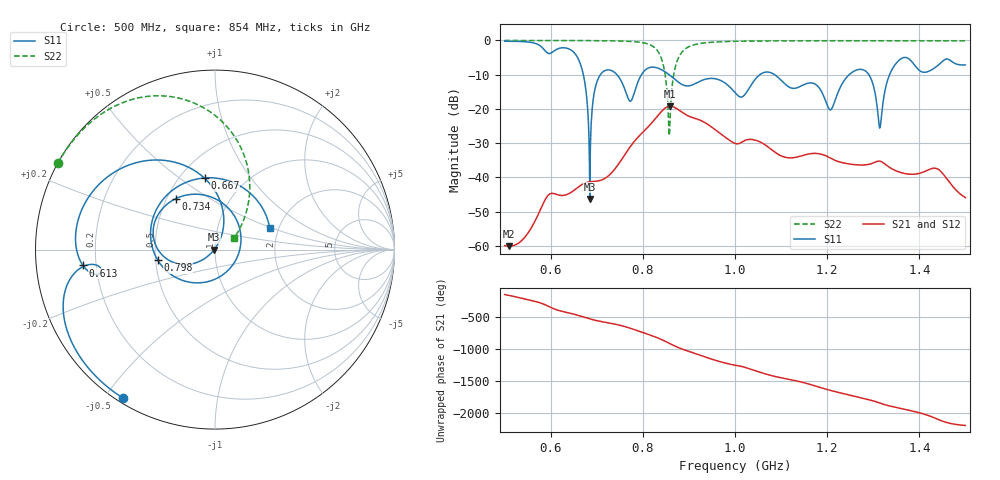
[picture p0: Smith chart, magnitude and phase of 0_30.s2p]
! TOUCHSTONE file generated by CST MICROWAVE STUDIO
! Date and time: Sat Oct 24 10:46:53 2020
! Project name: Scenario_1_Planar_Body_Tissue_Center.cst
! Parameters = {hfat=3; hmuscle=50; hskin=1.5; hgap=25; Wtissue=700; Ltissue=700; L_HA=400; MT=2.54; Rad_Dielectric=30; Rad_Lower=7.3; Rad_Upper=30; a_HA=580; a_WG=246; b_HA=500; b_WG=121; c_HA=0; c_WG=187; d_feed=85; dx1=675.28; h_feed=15; h_lower=18; h_upper=40}
! Header version: 2018
! Port assignment regex: !\s*Touchstone port\s*([0-9]+)\s*=\s*(CST MWS port|CST DS port)\s*([0-9]+|Zmin|Zmax)\s*\(\"(.*)\"\)(\s*mode\s*([0-9]+))?.*
! Touchstone port assignment:
! Touchstone port 1 = CST MWS port 1 ("")
! Touchstone port 2 = CST MWS port 2 ("")
# GHz S DB R 50
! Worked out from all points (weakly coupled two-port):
!   1003 points, 500 MHz to 1.5 GHz, reference 50 ohm
!   highest |S21| = -19.21 dB at 859 MHz (marker M1); lowest = -60.1 dB at 509 MHz (marker M2)
!   lowest |S11| = -46.3 dB at 685 MHz (marker M3), VSWR 1.01, Z = 49.5 - j0.0756 ohm
!   |S11| at or under -10 dB: 743.8 MHz to 797 MHz (53.18 MHz wide, 6.9 % of centre); 857 MHz to 1.054 GHz (196.8 MHz wide, 20.6 % of centre); 1.086 GHz to 1.248 GHz (161.9 MHz wide, 13.9 % of centre) (the widest 3 of 5)
!   |S22| runs from -27.8 to 0.0 dB; largest |S21 - S12| = 2.3e-06
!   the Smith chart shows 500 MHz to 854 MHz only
!   S11 on the Smith chart (normalised r, x): 500 MHz: 0.02, -0.56; 613 MHz: 0.15, -0.06; 667 MHz: 0.66, +0.62; 734 MHz: 0.56, +0.36; 798 MHz: 0.51, -0.07; 854 MHz: 1.79, +0.49
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0.5  -0.24 -121.7  -59.92 -156.4  -59.92 -156.4  -0.01 151.1
0.509  -0.24 -125.5  -60.06 -168.9  -60.06 -168.9  -0.01 150.6
0.613  -2.60 -173.2  -44.96 -33.9  -44.96 -33.9  -0.02 143.1
0.667  -7.93 98.3  -42.14 -136.0  -42.14 -136.0  -0.04 138.4
0.685  -46.25 -171.0  -41.26 -175.2  -41.26 -175.2  -0.05 136.5
0.701  -11.85 -165.3  -41.06 156.0  -41.06 156.0  -0.07 134.7
0.734  -8.93 127.3  -38.37 110.8  -38.37 110.8  -0.12 130.2
0.767  -16.54 14.6  -32.12 51.9  -32.12 51.9  -0.25 123.8
0.798  -9.79 -169.4  -27.06 -23.1  -27.06 -23.1  -0.62 113.5
0.834  -8.14 80.3  -21.73 -116.7  -21.73 -116.7  -3.46 83.0
0.854  -9.69 21.7  -19.33 176.1  -19.33 176.1  -17.91 31.7
0.859  -10.21 6.2  -19.21 158.0  -19.21 158.0  -23.26 -107.4
0.888  -13.04 -95.9  -21.23 68.0  -21.23 68.0  -2.95 178.1
0.934  -11.39 87.0  -23.94 -45.5  -23.94 -45.5  -0.72 153.0
1  -15.23 -118.4  -30.06 -176.6  -30.06 -176.6  -0.25 140.2
1.116  -13.50 -178.3  -34.27 -35.0  -34.27 -35.0  -0.12 128.3
1.167  -12.43 15.8  -33.01 -124.1  -33.01 -124.1  -0.09 124.2
1.207  -20.28 -154.6  -34.32 151.0  -34.32 151.0  -0.09 121.1
1.281  -8.74 -2.2  -36.34 21.9  -36.34 21.9  -0.08 115.5
1.314  -25.58 3.3  -35.24 -44.5  -35.24 -44.5  -0.08 113.0
1.334  -10.51 47.8  -36.94 -88.0  -36.94 -88.0  -0.09 111.5
1.5  -7.14 -42.1  -45.86 -34.5  -45.86 -34.5  -0.13 97.9
